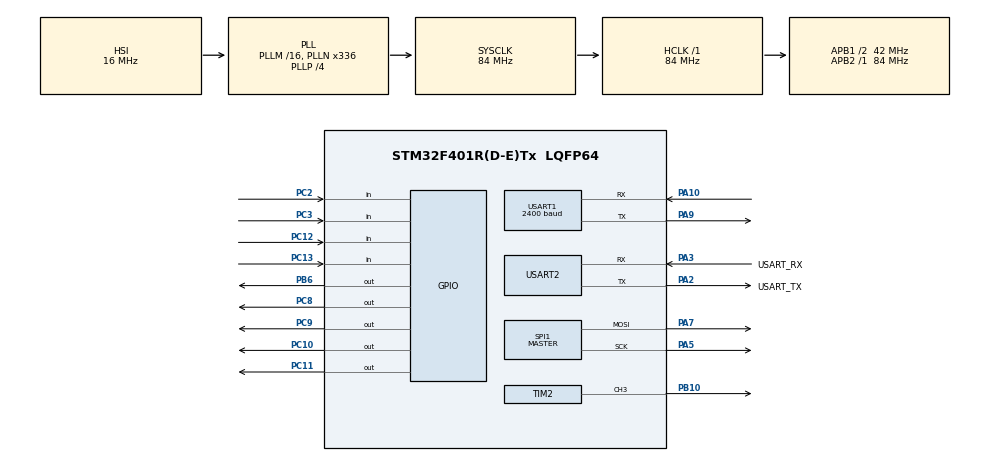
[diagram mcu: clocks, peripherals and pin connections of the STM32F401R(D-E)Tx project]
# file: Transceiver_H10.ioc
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Dma.Request0=SPI1_TX
Dma.SPI1_TX.0.Direction=DMA_MEMORY_TO_PERIPH
Dma.SPI1_TX.0.FIFOMode=DMA_FIFOMODE_DISABLE
Dma.SPI1_TX.0.Instance=DMA2_Stream3
Dma.SPI1_TX.0.MemDataAlignment=DMA_MDATAALIGN_BYTE
Dma.SPI1_TX.0.MemInc=DMA_MINC_ENABLE
Dma.SPI1_TX.0.Mode=DMA_NORMAL
Dma.SPI1_TX.0.PeriphDataAlignment=DMA_PDATAALIGN_BYTE
Dma.SPI1_TX.0.PeriphInc=DMA_PINC_DISABLE
Dma.SPI1_TX.0.Priority=DMA_PRIORITY_LOW
Mcu.Family=STM32F4
Mcu.Name=STM32F401R(D-E)Tx
Mcu.Package=LQFP64
NVIC.DMA2_Stream3_IRQn=true\:0\:0\:false\:false\:true\:false\:true\:true
NVIC.PriorityGroup=NVIC_PRIORITYGROUP_1
NVIC.TIM1_TRG_COM_TIM11_IRQn=true\:0\:0\:true\:false\:true\:true\:true\:true
NVIC.TIM1_UP_TIM10_IRQn=true\:1\:0\:true\:false\:true\:true\:true\:true
NVIC.TIM3_IRQn=true\:0\:0\:false\:false\:true\:true\:true\:true
NVIC.USART1_IRQn=true\:0\:0\:false\:false\:true\:true\:true\:true
PA10.Mode=Asynchronous
PA10.Signal=USART1_RX
PA13.GPIO_Label=TMS
PA13.Mode=Serial_Wire
PA13.Signal=SYS_JTMS-SWDIO
PA14.GPIO_Label=TCK
PA14.Mode=Serial_Wire
PA14.Signal=SYS_JTCK-SWCLK
PA2.GPIO_Label=USART_TX
PA2.GPIO_Mode=GPIO_MODE_AF_PP
PA2.GPIO_PuPd=GPIO_NOPULL
PA2.GPIO_Speed=GPIO_SPEED_FREQ_LOW
PA2.Mode=Asynchronous
PA2.Signal=USART2_TX
PA3.GPIO_Label=USART_RX
PA3.GPIO_Mode=GPIO_MODE_AF_PP
PA3.GPIO_PuPd=GPIO_NOPULL
PA3.GPIO_Speed=GPIO_SPEED_FREQ_LOW
PA3.Mode=Asynchronous
PA3.Signal=USART2_RX
PA5.Mode=TX_Only_Simplex_Unidirect_Master
PA5.Signal=SPI1_SCK
PA7.Mode=TX_Only_Simplex_Unidirect_Master
PA7.Signal=SPI1_MOSI
PA9.Mode=Asynchronous
PA9.Signal=USART1_TX
PB10.Signal=S_TIM2_CH3
PB3.GPIO_Label=SWO
PB3.Signal=SYS_JTDO-SWO
PB6.Signal=GPIO_Output
PC10.Signal=GPIO_Output
PC11.Signal=GPIO_Output
PC12.Signal=GPIO_Input
PC13-ANTI_TAMP.Signal=GPIO_Input
PC14-OSC32_IN.Mode=LSE-External-Oscillator
PC14-OSC32_IN.Signal=RCC_OSC32_IN
PC15-OSC32_OUT.Mode=LSE-External-Oscillator
PC15-OSC32_OUT.Signal=RCC_OSC32_OUT
PC2.Signal=GPIO_Input
PC3.Signal=GPIO_Input
PC8.Signal=GPIO_Output
PC9.Signal=GPIO_Output
PH0\ -\ OSC_IN.Mode=HSE-External-Clock-Source
PH0\ -\ OSC_IN.Signal=RCC_OSC_IN
PH1\ -\ OSC_OUT.Mode=HSE-External-Clock-Source
PH1\ -\ OSC_OUT.Signal=RCC_OSC_OUT
ProjectManager.HeapSize=0x200
ProjectManager.StackSize=0x400
ProjectManager.TargetToolchain=STM32CubeIDE
RCC.48MHZClocksFreq_Value=48000000
RCC.AHBFreq_Value=84000000
RCC.APB1CLKDivider=RCC_HCLK_DIV2
RCC.APB1Freq_Value=42000000
RCC.APB1TimFreq_Value=84000000
RCC.APB2Freq_Value=84000000
RCC.APB2TimFreq_Value=84000000
RCC.CortexFreq_Value=84000000
RCC.HCLKFreq_Value=84000000
RCC.HSE_VALUE=8000000
RCC.HSI_VALUE=16000000
RCC.PLLN=336
RCC.PLLP=RCC_PLLP_DIV4
RCC.PLLQ=7
RCC.SYSCLKFreq_VALUE=84000000
RCC.SYSCLKSource=RCC_SYSCLKSOURCE_PLLCLK
RCC.VCOOutputFreq_Value=336000000
SH.S_TIM2_CH3.0=TIM2_CH3,PWM Generation3 CH3
SPI1.BaudRatePrescaler=SPI_BAUDRATEPRESCALER_4
SPI1.Direction=SPI_DIRECTION_2LINES
SPI1.Mode=SPI_MODE_MASTER
SPI1.VirtualType=VM_MASTER
TIM10.Period=99
TIM10.Prescaler=8399
TIM11.Period=39
TIM11.Prescaler=8399
TIM2.Channel-PWM\ Generation3\ CH3=TIM_CHANNEL_3
TIM2.Period=2210
TIM2.Pulse-PWM\ Generation3\ CH3=1105
TIM3.Period=35000
USART1.BaudRate=2400
USART1.Mode=MODE_RX
USART1.VirtualMode=VM_ASYNC
USART2.VirtualMode=VM_ASYNC
VP_TIM10_VS_ClockSourceINT.Mode=Enable_Timer
VP_TIM11_VS_ClockSourceINT.Mode=Enable_Timer
VP_TIM2_VS_ClockSourceINT.Mode=Internal
VP_TIM3_VS_ClockSourceINT.Mode=Internal
board=NUCLEO-F401RE

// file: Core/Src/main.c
/* USER CODE BEGIN Header */
/**
  ******************************************************************************
  * @file           : main.c
  * @brief          : Main program body
  ******************************************************************************
  * @attention
  *
  * Copyright (c) 2023 STMicroelectronics.
  * All rights reserved.
  *
  * This software is licensed under terms that can be found in the LICENSE file
  * in the root directory of this software component.
  * If no LICENSE file comes with this software, it is provided AS-IS.
  *
  ******************************************************************************
  */
/* USER CODE END Header */
#include "main.h"

/* USER CODE BEGIN Includes */
#include <string.h>
/* USER CODE END Includes */

/* USER CODE BEGIN PM */
#define PIN_C0 GPIOC,GPIO_PIN_11
#define PIN_C1 GPIOC,GPIO_PIN_10
#define PIN_C2 GPIOC,GPIO_PIN_9
#define PIN_C3 GPIOC,GPIO_PIN_8

#define PIN_R0 GPIOC,GPIO_PIN_3
#define PIN_R1 GPIOC,GPIO_PIN_2
#define PIN_R2 GPIOC,GPIO_PIN_13
#define PIN_R3 GPIOC,GPIO_PIN_12
#define RCLK_PIN GPIOB,GPIO_PIN_6
/* USER CODE END PM */

SPI_HandleTypeDef hspi1;
DMA_HandleTypeDef hdma_spi1_tx;

TIM_HandleTypeDef htim2;
TIM_HandleTypeDef htim3;
TIM_HandleTypeDef htim10;
TIM_HandleTypeDef htim11;

UART_HandleTypeDef huart1;
UART_HandleTypeDef huart2;

/* USER CODE BEGIN PV */
uint8_t one[5][2] = {{33,16},{65,8},{127,4},{1,2},{1,1}};
uint8_t two[5][2] = {{33,16},{67,8},{69,4},{73,2},{49,1}};
uint8_t three[5][2] = {{65,16},{73,8},{73,4},{73,2},{54,1}};
uint8_t four[5][2] = {{120,16},{8,8},{8,4},{127,2},{8,1}};
uint8_t five[5][2] = {{121,16},{73,8},{73,4},{73,2},{70,1}};
uint8_t six[5][2] = {{62,16},{73,8},{73,4},{73,2},{70,1}};
uint8_t seven[5][2] = {{64,16},{64,8},{67,4},{76,2},{112,1}};
uint8_t eight[5][2] = {{54,16},{73,8},{73,4},{73,2},{54,1}};
uint8_t nine[5][2] = {{48,16},{72,8},{72,4},{72,2},{127,1}};
uint8_t zero[5][2] = {{62,16},{113,8},{73,4},{71,2},{62,1}};
uint8_t A[5][2] = {{31,16},{36,8},{68,4},{36,2},{31,1}};
uint8_t B[5][2] = {{127,16},{73,8},{73,4},{73,2},{54,1}};
uint8_t C[5][2] = {{62,16},{65,8},{65,4},{65,2},{34,1}};
uint8_t D[5][2] = {{127,16},{65,8},{65,4},{65,2},{62,1}};
uint8_t E[5][2] = {{127,16},{73,8},{73,4},{73,2},{65,1}};
uint8_t F[5][2] = {{127,16},{72,8},{72,4},{72,2},{64,1}};
uint8_t matrix_QM[5][2] = {{0,16},{0,8},{0,4},{0,2},{0,1}};
uint8_t matrix[5][2] = {{0,16},{0,8},{0,4},{0,2},{0,1}};
//uint8_t digit=0;
uint8_t CharMAP[256][5][2];
char map[16] = "FB73EA62D951C840";
int bitfinished = 0;
uint32_t keypress[16];
uint32_t ack[16];
int column_index = 0;
uint32_t debounce_time[16];
uint8_t Receive_Byte;
uint8_t Command;
uint8_t column_index_LED = 0;
int new_command = 1;

/* USER CODE END PV */

void SystemClock_Config(void);
static void MX_GPIO_Init(void);
static void MX_DMA_Init(void);
static void MX_USART2_UART_Init(void);
static void MX_SPI1_Init(void);
static void MX_TIM2_Init(void);
static void MX_TIM3_Init(void);
static void MX_TIM10_Init(void);
static void MX_USART1_UART_Init(void);
static void MX_TIM11_Init(void);

/* USER CODE BEGIN 0 */
void initCharMAP(void){
	for(int i=0;i<256;i++){
		memcpy(CharMAP[i],matrix_QM,sizeof(matrix_QM));
	}
	memcpy(CharMAP[(uint8_t)'0'],zero,sizeof(zero));
	memcpy(CharMAP[(uint8_t)'1'],one,sizeof(one));
	memcpy(CharMAP[(uint8_t)'2'],two,sizeof(two));
	memcpy(CharMAP[(uint8_t)'3'],three,sizeof(three));
	memcpy(CharMAP[(uint8_t)'4'],four,sizeof(four));
	memcpy(CharMAP[(uint8_t)'5'],five,sizeof(five));
	memcpy(CharMAP[(uint8_t)'6'],six,sizeof(six));
	memcpy(CharMAP[(uint8_t)'7'],seven,sizeof(seven));
	memcpy(CharMAP[(uint8_t)'8'],eight,sizeof(eight));
	memcpy(CharMAP[(uint8_t)'9'],nine,sizeof(nine));
	memcpy(CharMAP[(uint8_t)'A'],A,sizeof(A));
	memcpy(CharMAP[(uint8_t)'B'],B,sizeof(B));
	memcpy(CharMAP[(uint8_t)'C'],C,sizeof(C));
	memcpy(CharMAP[(uint8_t)'D'],D,sizeof(D));
	memcpy(CharMAP[(uint8_t)'E'],E,sizeof(E));
	memcpy(CharMAP[(uint8_t)'F'],F,sizeof(F));
}

void showletter(void){
	//memcpy(matrix,CharMAP[(uint8_t)digit],sizeof(matrix));
	memcpy(matrix,CharMAP[Receive_Byte],sizeof(matrix));
}
void Our_UART_SendByte(char Byte){
	HAL_TIM_Base_Start_IT(&htim3);
	//Send the start bit 0
	HAL_TIM_PWM_Start(&htim2,TIM_CHANNEL_3);
	bitfinished = 0;
	while(bitfinished == 0);
	//Start sending the 8 bits of the byte
	for(int index = 0; index < 8; index++){
		if ((Byte & (0x01 << index)) == 0){
			HAL_TIM_PWM_Start(&htim2,TIM_CHANNEL_3);
		}else{
			HAL_TIM_PWM_Stop(&htim2,TIM_CHANNEL_3);
		}
		bitfinished = 0;
		while(bitfinished == 0);
	}
	//Send the stop bit
	HAL_TIM_PWM_Stop(&htim2,TIM_CHANNEL_3);
	bitfinished = 0;
	while(bitfinished == 0);
	HAL_TIM_Base_Stop_IT(&htim3);
	bitfinished = 0;
}

void HAL_TIM_PeriodElapsedCallback(TIM_HandleTypeDef *htim) {
	if(htim == &htim3){
		bitfinished = 1;
	}
	if(htim == &htim11){
		HAL_SPI_Transmit_DMA(&hspi1,matrix[column_index_LED],2);
	}
	if(htim == &htim10){
		  if(HAL_GPIO_ReadPin(PIN_R0)==GPIO_PIN_SET){
			  keypress[4*column_index]=0;
		  }else{
			  keypress[4*column_index]=1;
		  }

		  if(HAL_GPIO_ReadPin(PIN_R1)==GPIO_PIN_SET){
			  keypress[4*column_index+1]=0;
		  }else{
			  keypress[4*column_index+1]=1;
		  }

		  if(HAL_GPIO_ReadPin(PIN_R2)==GPIO_PIN_SET){
			  keypress[4*column_index+2]=0;
		  }else{
			  keypress[4*column_index+2]=1;
		  }

		  if(HAL_GPIO_ReadPin(PIN_R3)==GPIO_PIN_SET){
			  keypress[4*column_index+3]=0;
		  }else{
			  keypress[4*column_index+3]=1;
		  }
		  for(int i=0;i<4;i++){
			  if(keypress[4*column_index+i] == 1){
				  if(ack[4*column_index+i] == 0){
					  if(debounce_time[4*column_index+i] == 0){
					  //HAL_UART_Transmit_DMA(&huart2,(uint8_t *)&map[4*column_index+i],1);
					  Our_UART_SendByte(map[4*column_index+i]);
					  ack[4*column_index+i] = 1;
					  debounce_time[4*column_index+i] = 1;
					  }
					  else{
						  debounce_time[4*column_index+i] = 0;
					  }
				  }
			  }else{
				  ack[4*column_index+i] = 0;
			  }
		  }

		  column_index++;
		  if(column_index==4){
			  column_index=0;
		  }
		  HAL_GPIO_WritePin(PIN_C0,(column_index==0)?GPIO_PIN_SET:GPIO_PIN_RESET);
		  HAL_GPIO_WritePin(PIN_C1,(column_index==1)?GPIO_PIN_SET:GPIO_PIN_RESET);
		  HAL_GPIO_WritePin(PIN_C2,(column_index==2)?GPIO_PIN_SET:GPIO_PIN_RESET);
		  HAL_GPIO_WritePin(PIN_C3,(column_index==3)?GPIO_PIN_SET:GPIO_PIN_RESET);
	}
}

void HAL_SPI_TxCpltCallback(SPI_HandleTypeDef *hspi){
	HAL_GPIO_WritePin(RCLK_PIN,GPIO_PIN_SET);
	column_index_LED+=1;
	if (column_index_LED == 5){
		column_index_LED = 0;
	}
	HAL_GPIO_WritePin(RCLK_PIN,GPIO_PIN_RESET);
}

void HAL_UART_RxCpltCallback(UART_HandleTypeDef *huart){
	HAL_UART_Receive_IT(&huart1,&Receive_Byte,1);
	Command = Receive_Byte;
	new_command = 1;
}
/* USER CODE END 0 */

int main(void)
{

  /* MCU Configuration--------------------------------------------------------*/

  /* Reset of all peripherals, Initializes the Flash interface and the Systick. */
  HAL_Init();

  /* Configure the system clock */
  SystemClock_Config();

  /* Initialize all configured peripherals */
  MX_GPIO_Init();
  MX_DMA_Init();
  MX_USART2_UART_Init();
  MX_SPI1_Init();
  MX_TIM2_Init();
  MX_TIM3_Init();
  MX_TIM10_Init();
  MX_USART1_UART_Init();
  MX_TIM11_Init();
  /* USER CODE BEGIN 2 */
  initCharMAP();
  for(int i=0;i<16;i++){
	  keypress[i] = 0;
	  ack[i] = 0;
	  debounce_time[i] = 1;
  }
  HAL_GPIO_WritePin(PIN_C0,(column_index==0)?GPIO_PIN_SET:GPIO_PIN_RESET);
  HAL_GPIO_WritePin(PIN_C1,(column_index==1)?GPIO_PIN_SET:GPIO_PIN_RESET);
  HAL_GPIO_WritePin(PIN_C2,(column_index==2)?GPIO_PIN_SET:GPIO_PIN_RESET);
  HAL_GPIO_WritePin(PIN_C3,(column_index==3)?GPIO_PIN_SET:GPIO_PIN_RESET);

  HAL_UART_Receive_IT(&huart1,&Receive_Byte,1);
  if(HAL_TIM_Base_Start_IT(&htim10) != HAL_OK){
 	  Error_Handler();
  }
  if(HAL_TIM_Base_Start_IT(&htim11) != HAL_OK){
 	  Error_Handler();
  }
  /* USER CODE END 2 */

  /* Infinite loop */
  /* USER CODE BEGIN WHILE */
  while (1)
  {
	  if(new_command){
		  showletter();
		  new_command = 0;
	  }
    /* USER CODE END WHILE */

  }
}

void SystemClock_Config(void)
{
  RCC_OscInitTypeDef RCC_OscInitStruct = {0};
  RCC_ClkInitTypeDef RCC_ClkInitStruct = {0};

  /** Configure the main internal regulator output voltage
  */
  __HAL_RCC_PWR_CLK_ENABLE();
  __HAL_PWR_VOLTAGESCALING_CONFIG(PWR_REGULATOR_VOLTAGE_SCALE2);

  /** Initializes the RCC Oscillators according to the specified parameters
  * in the RCC_OscInitTypeDef structure.
  */
  RCC_OscInitStruct.OscillatorType = RCC_OSCILLATORTYPE_HSI;
  RCC_OscInitStruct.HSIState = RCC_HSI_ON;
  RCC_OscInitStruct.HSICalibrationValue = RCC_HSICALIBRATION_DEFAULT;
  RCC_OscInitStruct.PLL.PLLState = RCC_PLL_ON;
  RCC_OscInitStruct.PLL.PLLSource = RCC_PLLSOURCE_HSI;
  RCC_OscInitStruct.PLL.PLLM = 16;
  RCC_OscInitStruct.PLL.PLLN = 336;
  RCC_OscInitStruct.PLL.PLLP = RCC_PLLP_DIV4;
  RCC_OscInitStruct.PLL.PLLQ = 7;
  if (HAL_RCC_OscConfig(&RCC_OscInitStruct) != HAL_OK)
  {
    Error_Handler();
  }

  /** Initializes the CPU, AHB and APB buses clocks
  */
  RCC_ClkInitStruct.ClockType = RCC_CLOCKTYPE_HCLK|RCC_CLOCKTYPE_SYSCLK
                              |RCC_CLOCKTYPE_PCLK1|RCC_CLOCKTYPE_PCLK2;
  RCC_ClkInitStruct.SYSCLKSource = RCC_SYSCLKSOURCE_PLLCLK;
  RCC_ClkInitStruct.AHBCLKDivider = RCC_SYSCLK_DIV1;
  RCC_ClkInitStruct.APB1CLKDivider = RCC_HCLK_DIV2;
  RCC_ClkInitStruct.APB2CLKDivider = RCC_HCLK_DIV1;

  if (HAL_RCC_ClockConfig(&RCC_ClkInitStruct, FLASH_LATENCY_2) != HAL_OK)
  {
    Error_Handler();
  }
}

static void MX_SPI1_Init(void)
{

  /* SPI1 parameter configuration*/
  hspi1.Instance = SPI1;
  hspi1.Init.Mode = SPI_MODE_MASTER;
  hspi1.Init.Direction = SPI_DIRECTION_2LINES;
  hspi1.Init.DataSize = SPI_DATASIZE_8BIT;
  hspi1.Init.CLKPolarity = SPI_POLARITY_LOW;
  hspi1.Init.CLKPhase = SPI_PHASE_1EDGE;
  hspi1.Init.NSS = SPI_NSS_SOFT;
  hspi1.Init.BaudRatePrescaler = SPI_BAUDRATEPRESCALER_4;
  hspi1.Init.FirstBit = SPI_FIRSTBIT_MSB;
  hspi1.Init.TIMode = SPI_TIMODE_DISABLE;
  hspi1.Init.CRCCalculation = SPI_CRCCALCULATION_DISABLE;
  hspi1.Init.CRCPolynomial = 10;
  if (HAL_SPI_Init(&hspi1) != HAL_OK)
  {
    Error_Handler();
  }

}

static void MX_TIM2_Init(void)
{

  TIM_ClockConfigTypeDef sClockSourceConfig = {0};
  TIM_MasterConfigTypeDef sMasterConfig = {0};
  TIM_OC_InitTypeDef sConfigOC = {0};

  htim2.Instance = TIM2;
  htim2.Init.Prescaler = 0;
  htim2.Init.CounterMode = TIM_COUNTERMODE_UP;
  htim2.Init.Period = 2210;
  htim2.Init.ClockDivision = TIM_CLOCKDIVISION_DIV1;
  htim2.Init.AutoReloadPreload = TIM_AUTORELOAD_PRELOAD_DISABLE;
  if (HAL_TIM_Base_Init(&htim2) != HAL_OK)
  {
    Error_Handler();
  }
  sClockSourceConfig.ClockSource = TIM_CLOCKSOURCE_INTERNAL;
  if (HAL_TIM_ConfigClockSource(&htim2, &sClockSourceConfig) != HAL_OK)
  {
    Error_Handler();
  }
  if (HAL_TIM_PWM_Init(&htim2) != HAL_OK)
  {
    Error_Handler();
  }
  sMasterConfig.MasterOutputTrigger = TIM_TRGO_RESET;
  sMasterConfig.MasterSlaveMode = TIM_MASTERSLAVEMODE_DISABLE;
  if (HAL_TIMEx_MasterConfigSynchronization(&htim2, &sMasterConfig) != HAL_OK)
  {
    Error_Handler();
  }
  sConfigOC.OCMode = TIM_OCMODE_PWM1;
  sConfigOC.Pulse = 1105;
  sConfigOC.OCPolarity = TIM_OCPOLARITY_HIGH;
  sConfigOC.OCFastMode = TIM_OCFAST_DISABLE;
  if (HAL_TIM_PWM_ConfigChannel(&htim2, &sConfigOC, TIM_CHANNEL_3) != HAL_OK)
  {
    Error_Handler();
  }
  HAL_TIM_MspPostInit(&htim2);

}

static void MX_TIM3_Init(void)
{

  TIM_ClockConfigTypeDef sClockSourceConfig = {0};
  TIM_MasterConfigTypeDef sMasterConfig = {0};

  htim3.Instance = TIM3;
  htim3.Init.Prescaler = 0;
  htim3.Init.CounterMode = TIM_COUNTERMODE_UP;
  htim3.Init.Period = 35000;
  htim3.Init.ClockDivision = TIM_CLOCKDIVISION_DIV1;
  htim3.Init.AutoReloadPreload = TIM_AUTORELOAD_PRELOAD_DISABLE;
  if (HAL_TIM_Base_Init(&htim3) != HAL_OK)
  {
    Error_Handler();
  }
  sClockSourceConfig.ClockSource = TIM_CLOCKSOURCE_INTERNAL;
  if (HAL_TIM_ConfigClockSource(&htim3, &sClockSourceConfig) != HAL_OK)
  {
    Error_Handler();
  }
  sMasterConfig.MasterOutputTrigger = TIM_TRGO_RESET;
  sMasterConfig.MasterSlaveMode = TIM_MASTERSLAVEMODE_DISABLE;
  if (HAL_TIMEx_MasterConfigSynchronization(&htim3, &sMasterConfig) != HAL_OK)
  {
    Error_Handler();
  }

}

static void MX_TIM10_Init(void)
{

  htim10.Instance = TIM10;
  htim10.Init.Prescaler = 8399;
  htim10.Init.CounterMode = TIM_COUNTERMODE_UP;
  htim10.Init.Period = 99;
  htim10.Init.ClockDivision = TIM_CLOCKDIVISION_DIV1;
  htim10.Init.AutoReloadPreload = TIM_AUTORELOAD_PRELOAD_DISABLE;
  if (HAL_TIM_Base_Init(&htim10) != HAL_OK)
  {
    Error_Handler();
  }

}

static void MX_TIM11_Init(void)
{

  htim11.Instance = TIM11;
  htim11.Init.Prescaler = 8399;
  htim11.Init.CounterMode = TIM_COUNTERMODE_UP;
  htim11.Init.Period = 39;
  htim11.Init.ClockDivision = TIM_CLOCKDIVISION_DIV1;
  htim11.Init.AutoReloadPreload = TIM_AUTORELOAD_PRELOAD_DISABLE;
  if (HAL_TIM_Base_Init(&htim11) != HAL_OK)
  {
    Error_Handler();
  }

}

static void MX_USART1_UART_Init(void)
{

  huart1.Instance = USART1;
  huart1.Init.BaudRate = 2400;
  huart1.Init.WordLength = UART_WORDLENGTH_8B;
  huart1.Init.StopBits = UART_STOPBITS_1;
  huart1.Init.Parity = UART_PARITY_NONE;
  huart1.Init.Mode = UART_MODE_RX;
  huart1.Init.HwFlowCtl = UART_HWCONTROL_NONE;
  huart1.Init.OverSampling = UART_OVERSAMPLING_16;
  if (HAL_UART_Init(&huart1) != HAL_OK)
  {
    Error_Handler();
  }

}

static void MX_USART2_UART_Init(void)
{

  huart2.Instance = USART2;
  huart2.Init.BaudRate = 115200;
  huart2.Init.WordLength = UART_WORDLENGTH_8B;
  huart2.Init.StopBits = UART_STOPBITS_1;
  huart2.Init.Parity = UART_PARITY_NONE;
  huart2.Init.Mode = UART_MODE_TX_RX;
  huart2.Init.HwFlowCtl = UART_HWCONTROL_NONE;
  huart2.Init.OverSampling = UART_OVERSAMPLING_16;
  if (HAL_UART_Init(&huart2) != HAL_OK)
  {
    Error_Handler();
  }

}

static void MX_DMA_Init(void)
{

  /* DMA controller clock enable */
  __HAL_RCC_DMA2_CLK_ENABLE();

  /* DMA interrupt init */
  /* DMA2_Stream3_IRQn interrupt configuration */
  HAL_NVIC_SetPriority(DMA2_Stream3_IRQn, 0, 0);
  HAL_NVIC_EnableIRQ(DMA2_Stream3_IRQn);

}

static void MX_GPIO_Init(void)
{
  GPIO_InitTypeDef GPIO_InitStruct = {0};

  /* GPIO Ports Clock Enable */
  __HAL_RCC_GPIOC_CLK_ENABLE();
  __HAL_RCC_GPIOH_CLK_ENABLE();
  __HAL_RCC_GPIOA_CLK_ENABLE();
  __HAL_RCC_GPIOB_CLK_ENABLE();

  /*Configure GPIO pin Output Level */
  HAL_GPIO_WritePin(GPIOC, GPIO_PIN_8|GPIO_PIN_9|GPIO_PIN_10|GPIO_PIN_11, GPIO_PIN_RESET);

  /*Configure GPIO pin Output Level */
  HAL_GPIO_WritePin(GPIOB, GPIO_PIN_6, GPIO_PIN_RESET);

  /*Configure GPIO pins : PC13 PC2 PC3 PC12 */
  GPIO_InitStruct.Pin = GPIO_PIN_13|GPIO_PIN_2|GPIO_PIN_3|GPIO_PIN_12;
  GPIO_InitStruct.Mode = GPIO_MODE_INPUT;
  GPIO_InitStruct.Pull = GPIO_NOPULL;
  HAL_GPIO_Init(GPIOC, &GPIO_InitStruct);

  /*Configure GPIO pins : PC8 PC9 PC10 PC11 */
  GPIO_InitStruct.Pin = GPIO_PIN_8|GPIO_PIN_9|GPIO_PIN_10|GPIO_PIN_11;
  GPIO_InitStruct.Mode = GPIO_MODE_OUTPUT_PP;
  GPIO_InitStruct.Pull = GPIO_NOPULL;
  GPIO_InitStruct.Speed = GPIO_SPEED_FREQ_LOW;
  HAL_GPIO_Init(GPIOC, &GPIO_InitStruct);

  /*Configure GPIO pin : PB6 */
  GPIO_InitStruct.Pin = GPIO_PIN_6;
  GPIO_InitStruct.Mode = GPIO_MODE_OUTPUT_PP;
  GPIO_InitStruct.Pull = GPIO_NOPULL;
  GPIO_InitStruct.Speed = GPIO_SPEED_FREQ_LOW;
  HAL_GPIO_Init(GPIOB, &GPIO_InitStruct);

}

void Error_Handler(void)
{
  __disable_irq();
  while (1)
  {
  }
}
